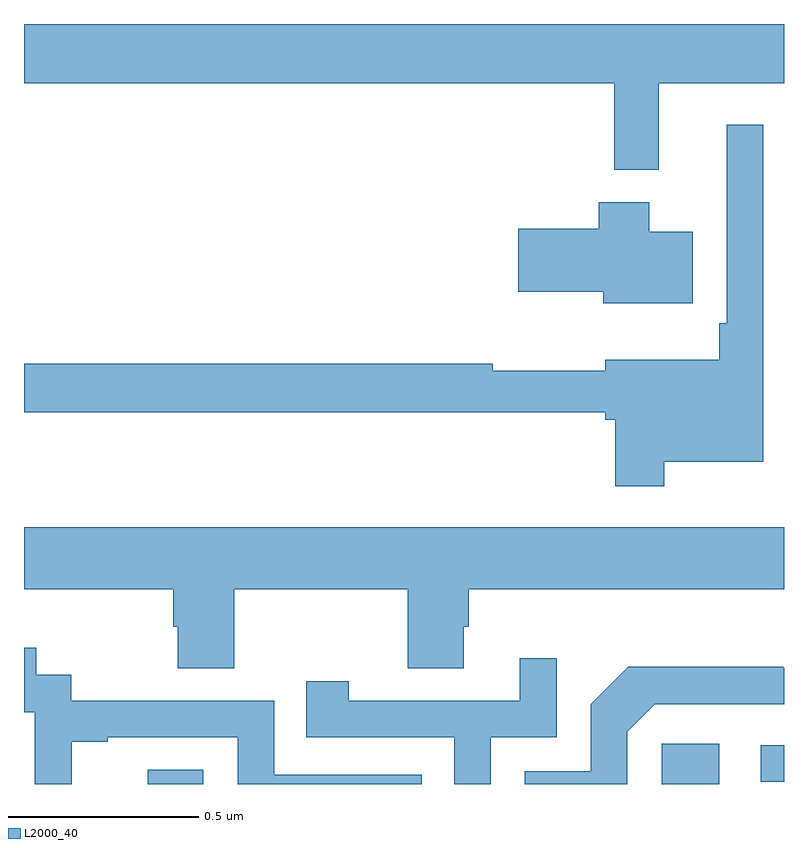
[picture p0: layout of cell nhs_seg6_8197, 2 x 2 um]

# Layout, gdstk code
import gdstk
lib = gdstk.Library(unit=1e-6, precision=1e-09)
def R(c, l, rs):  # rectangles x0, y0, x1, y1
    for r in rs: c.add(gdstk.rectangle(r[:2], r[2:], *l))
def P(c, l, *ps):  # polygons
    for p in ps: c.add(gdstk.Polygon(p, *l))
L2000_40 = (2000, 40)

nhs_seg6_8197 = lib.new_cell('nhs_seg6_8197')
R(nhs_seg6_8197, L2000_40, [(218.325,937.5,218.472,937.537), (219.678,937.5,219.829,937.606), (219.939,937.506,220,937.602)])
P(nhs_seg6_8197, L2000_40, [(219.671,939.344),(220,939.344),(220,939.5),(218,939.5),(218,939.344),(219.553,939.344),(219.553,939.116),(219.671,939.116)],
  [(219.685,938.348),(219.946,938.348),(219.946,939.235),(219.849,939.235),(219.849,938.713),(219.829,938.713),(219.829,938.617),(219.53,938.617),(219.53,938.588),(219.234,938.588),(219.234,938.606),(218,938.606),(218,938.478),(219.53,938.478),(219.53,938.459),(219.556,938.459),(219.556,938.283),(219.685,938.283)],
  [(219.76,938.953),(219.646,938.953),(219.646,939.031),(219.512,939.031),(219.512,938.961),(219.3,938.961),(219.3,938.795),(219.524,938.795),(219.524,938.765),(219.76,938.765)],
  [(218.553,938.012),(219.01,938.012),(219.01,937.804),(219.157,937.804),(219.157,937.914),(219.17,937.914),(219.17,938.012),(220,938.012),(220,938.176),(218,938.176),(218,938.012),(218.393,938.012),(218.393,937.914),(218.405,937.914),(218.405,937.804),(218.553,937.804)],
  [(218.126,937.611),(218.221,937.611),(218.221,937.623),(218.562,937.623),(218.562,937.5),(219.047,937.5),(219.047,937.524),(218.658,937.524),(218.658,937.719),(218.124,937.719),(218.124,937.788),(218.032,937.788),(218.032,937.858),(218,937.858),(218,937.689),(218.028,937.689),(218.028,937.5),(218.126,937.5)],
  [(219.228,937.623),(219.402,937.623),(219.402,937.831),(219.305,937.831),(219.305,937.719),(218.854,937.719),(218.854,937.771),(218.743,937.771),(218.743,937.623),(219.132,937.623),(219.132,937.5),(219.228,937.5)],
  [(219.588,937.638),(219.66,937.71),(220,937.71),(220,937.806),(219.998,937.806),(219.998,937.808),(219.59,937.808),(219.492,937.71),(219.492,937.533),(219.318,937.533),(219.318,937.5),(219.588,937.5)])

lib.write_gds('nhs_seg6_8197.gds')
